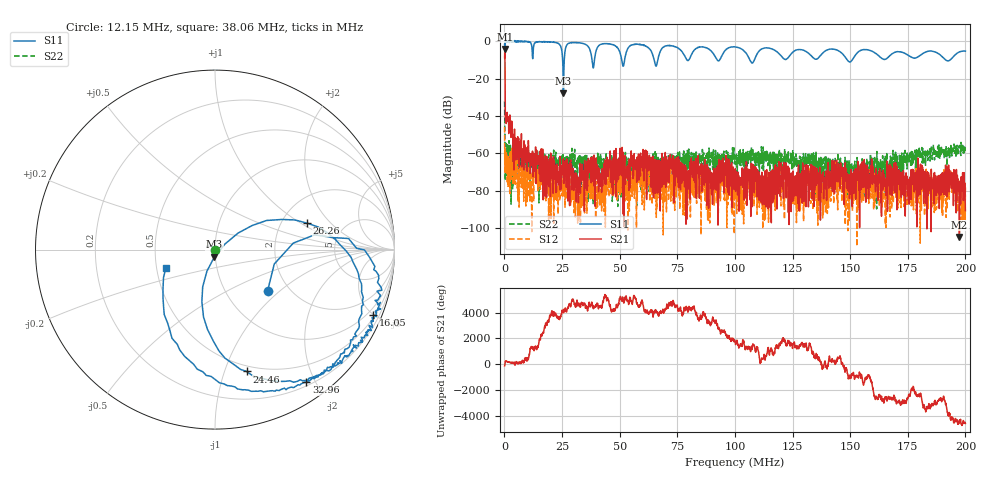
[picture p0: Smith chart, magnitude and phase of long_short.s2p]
! 23-Mar-26 11:55:56 AM
! E:\UPDATEDVNAMEASUREMENTS\CAL_S11S\LONG_SHORT.S2P
! CHANNEL.1
! TR.MEASUREMENT
! CORRECTED.DATA
# GHZ S RI R 50.0
! FREQ.GHZ  S11RE  S11IM  S21RE  S21IM  S12RE  S12IM  S22RE  S22IM
!; PortSelection: Port_12
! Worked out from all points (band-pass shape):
!   2000 points, 50 kHz to 200 MHz, reference 50 ohm
!   highest |S21| = -4.18 dB at 150 kHz (marker M1); lowest = -104.6 dB at 197.4 MHz (marker M2)
!   |S21| within 3 dB of the highest: 85.26 kHz to 179.6 kHz (94.36 kHz wide, 71.2 % of centre)
!   lowest |S11| = -27.9 dB at 25.56 MHz (marker M3), VSWR 1.08, Z = 49.5 - j3.99 ohm
!   |S11| at or under -10 dB: 106.5 MHz to 108.4 MHz (1.956 MHz wide, 1.82 % of centre); 148.7 MHz to 150.9 MHz (2.19 MHz wide, 1.46 % of centre); 191.4 MHz to 193.4 MHz (1.987 MHz wide, 1.03 % of centre) (the widest 3 of 9)
!   |S22| runs from -89.6 to -32.2 dB; largest |S21 - S12| = 0.62
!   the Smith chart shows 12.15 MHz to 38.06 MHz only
!   S11 on the Smith chart (normalised r, x): 12.15 MHz: 1.56, -0.83; 16.05 MHz: 0.59, -4.95; 24.46 MHz: 0.45, -1.19; 26.26 MHz: 2.76, +1.14; 32.96 MHz: 0.25, -1.88; 38.06 MHz: 0.56, -0.12
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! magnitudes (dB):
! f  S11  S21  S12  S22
! 50 kHz  -1.5  -8.8  -45.9  -32.2
! 150 kHz  -0.9  -4.2  -69.1  -45.6
! 1.25 MHz  -0.5  -40.3  -76.0  -54.5
! 4.251 MHz  -0.2  -53.7  -76.1  -69.2
! 12.15 MHz  -8.6  -58.7  -75.3  -60.8
! 16.05 MHz  -0.4  -63.4  -71.0  -60.0
! 24.46 MHz  -3.1  -78.0  -78.2  -62.3
! 25.56 MHz  -27.9  -62.9  -71.7  -64.6
! 26.26 MHz  -5.4  -71.5  -88.7  -62.5
! 32.96 MHz  -1.0  -81.2  -96.7  -67.0
! 33.46 MHz  -1.1  -70.5  -79.4  -62.6
! 38.06 MHz  -10.7  -65.3  -70.7  -64.0
! 41.76 MHz  -1.7  -77.0  -86.9  -61.3
! 45.06 MHz  -1.4  -72.2  -75.7  -67.5
! 51.46 MHz  -13.4  -59.4  -72.3  -66.3
! 56.76 MHz  -1.7  -68.2  -79.5  -74.4
! 66.77 MHz  -8.7  -80.9  -78.4  -68.8
! 100.1 MHz  -3.0  -75.2  -79.9  -61.4
! 133.4 MHz  -8.1  -66.3  -74.0  -65.8
! 166.7 MHz  -8.4  -68.2  -76.0  -71.5
! 197.4 MHz  -5.7  -104.6  -80.3  -57.6
! 200 MHz  -5.3  -90.6  -78.1  -56.8
